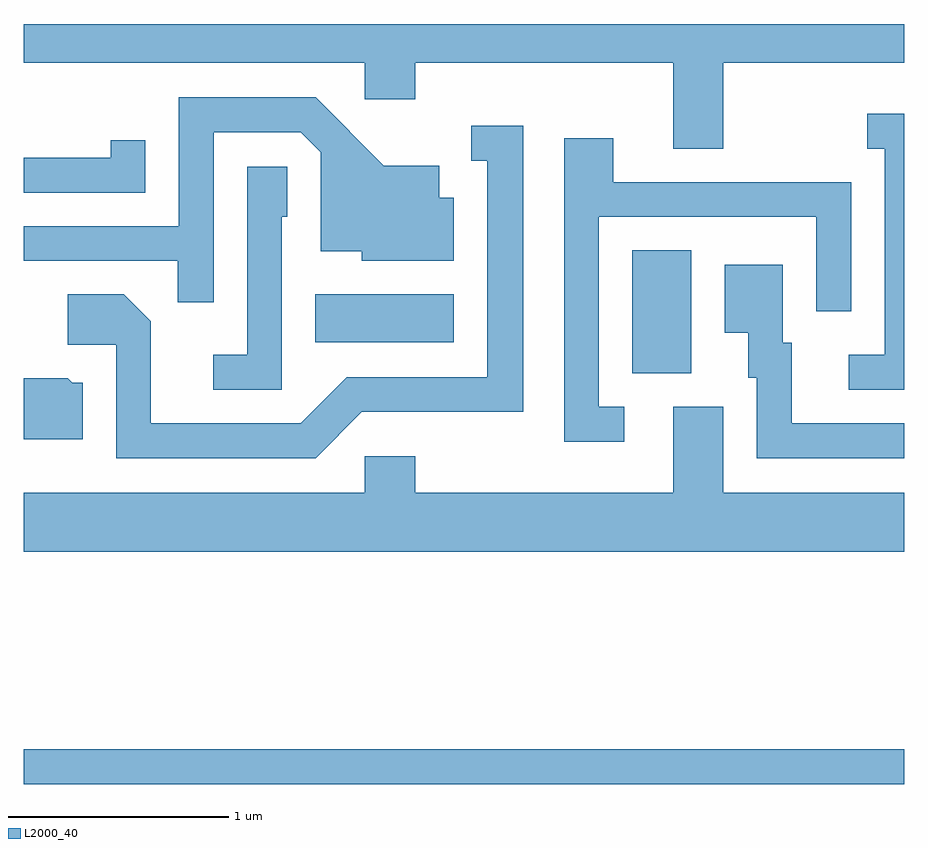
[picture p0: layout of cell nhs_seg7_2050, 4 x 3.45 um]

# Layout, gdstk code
import gdstk
lib = gdstk.Library(unit=1e-6, precision=1e-09)
def R(c, l, rs):  # rectangles x0, y0, x1, y1
    for r in rs: c.add(gdstk.rectangle(r[:2], r[2:], *l))
def P(c, l, *ps):  # polygons
    for p in ps: c.add(gdstk.Polygon(p, *l))
L2000_40 = (2000, 40)

nhs_seg7_2050 = lib.new_cell('nhs_seg7_2050')
R(nhs_seg7_2050, L2000_40, [(247.611,1728.801,251.611,1728.959), (250.376,1730.666,250.644,1731.224), (248.936,1730.806,249.564,1731.024)])
P(nhs_seg7_2050, L2000_40, [(250.789,1732.076),(251.611,1732.076),(251.611,1732.252),(247.611,1732.252),(247.611,1732.076),(249.161,1732.076),(249.161,1731.911),(249.389,1731.911),(249.389,1732.076),(250.561,1732.076),(250.561,1731.686),(250.789,1731.686)],
  [(248.474,1731.761),(248.869,1731.761),(248.961,1731.669),(248.961,1731.221),(249.146,1731.221),(249.146,1731.176),(249.564,1731.176),(249.564,1731.464),(249.499,1731.464),(249.499,1731.609),(249.247,1731.609),(248.937,1731.919),(248.316,1731.919),(248.316,1731.334),(247.611,1731.334),(247.611,1731.176),(248.311,1731.176),(248.311,1730.988),(248.474,1730.988)],
  [(251.611,1731.844),(251.443,1731.844),(251.443,1731.686),(251.521,1731.686),(251.521,1730.749),(251.358,1730.749),(251.358,1730.591),(251.611,1730.591)],
  [(249.147,1730.491),(249.879,1730.491),(249.879,1731.789),(249.643,1731.789),(249.643,1731.631),(249.716,1731.631),(249.716,1730.649),(249.079,1730.649),(248.869,1730.439),(248.189,1730.439),(248.189,1730.902),(248.067,1731.024),(247.811,1731.024),(247.811,1730.796),(248.031,1730.796),(248.031,1730.281),(248.937,1730.281)],
  [(250.338,1730.514),(250.224,1730.514),(250.224,1731.376),(251.211,1731.376),(251.211,1730.948),(251.369,1730.948),(251.369,1731.534),(250.289,1731.534),(250.289,1731.734),(250.066,1731.734),(250.066,1730.356),(250.338,1730.356)],
  [(248.164,1731.723),(248.006,1731.723),(248.006,1731.644),(247.611,1731.644),(247.611,1731.486),(248.164,1731.486)],
  [(248.784,1731.376),(248.809,1731.376),(248.809,1731.604),(248.626,1731.604),(248.626,1730.749),(248.473,1730.749),(248.473,1730.591),(248.784,1730.591)],
  [(251.611,1730.439),(251.099,1730.439),(251.099,1730.804),(251.059,1730.804),(251.059,1731.159),(250.796,1731.159),(250.796,1730.851),(250.901,1730.851),(250.901,1730.646),(250.941,1730.646),(250.941,1730.281),(251.611,1730.281)],
  [(247.879,1730.624),(247.832,1730.624),(247.812,1730.644),(247.611,1730.644),(247.611,1730.366),(247.879,1730.366)],
  [(251.611,1730.124),(250.789,1730.124),(250.789,1730.514),(250.561,1730.514),(250.561,1730.124),(249.389,1730.124),(249.389,1730.289),(249.161,1730.289),(249.161,1730.124),(247.611,1730.124),(247.611,1729.856),(251.611,1729.856)])

lib.write_gds('nhs_seg7_2050.gds')
